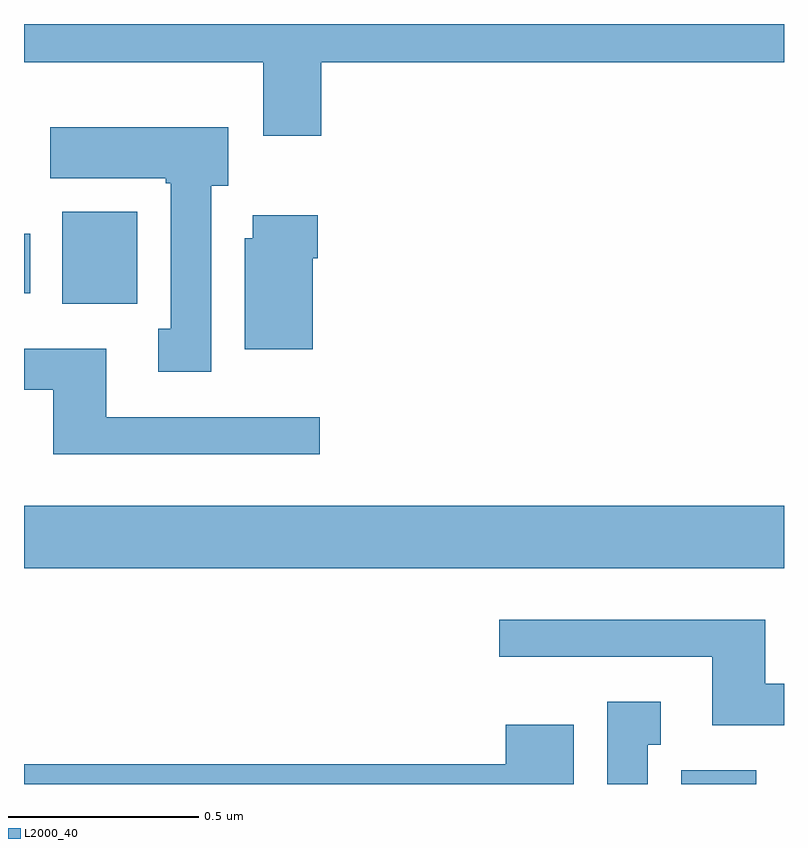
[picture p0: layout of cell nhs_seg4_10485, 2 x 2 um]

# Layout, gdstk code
import gdstk
lib = gdstk.Library(unit=1e-6, precision=1e-09)
def R(c, l, rs):  # rectangles x0, y0, x1, y1
    for r in rs: c.add(gdstk.rectangle(r[:2], r[2:], *l))
def P(c, l, *ps):  # polygons
    for p in ps: c.add(gdstk.Polygon(p, *l))
L2000_40 = (2000, 40)

nhs_seg4_10485 = lib.new_cell('nhs_seg4_10485')
R(nhs_seg4_10485, L2000_40, [(241.73,814.9,241.927,814.936), (240,815.468,242,815.632), (240.101,816.164,240.298,816.406), (240,816.192,240.016,816.348)])
P(nhs_seg4_10485, L2000_40, [(240.782,816.8),(242,816.8),(242,816.9),(240,816.9),(240,816.8),(240.629,816.8),(240.629,816.606),(240.782,816.606)],
  [(240.493,816.474),(240.538,816.474),(240.538,816.628),(240.069,816.628),(240.069,816.494),(240.373,816.494),(240.373,816.481),(240.386,816.481),(240.386,816.098),(240.353,816.098),(240.353,815.985),(240.493,815.985)],
  [(240.76,816.284),(240.773,816.284),(240.773,816.397),(240.602,816.397),(240.602,816.336),(240.581,816.336),(240.581,816.044),(240.76,816.044)],
  [(240.778,815.865),(240.217,815.865),(240.217,816.046),(240,816.046),(240,815.937),(240.077,815.937),(240.077,815.768),(240.778,815.768)],
  [(242,815.164),(241.951,815.164),(241.951,815.332),(241.251,815.332),(241.251,815.235),(241.811,815.235),(241.811,815.054),(242,815.054)],
  [(241.642,815.003),(241.675,815.003),(241.675,815.116),(241.535,815.116),(241.535,814.9),(241.642,814.9)],
  [(241.447,815.056),(241.268,815.056),(241.268,814.952),(240,814.952),(240,814.9),(241.447,814.9)])

lib.write_gds('nhs_seg4_10485.gds')
